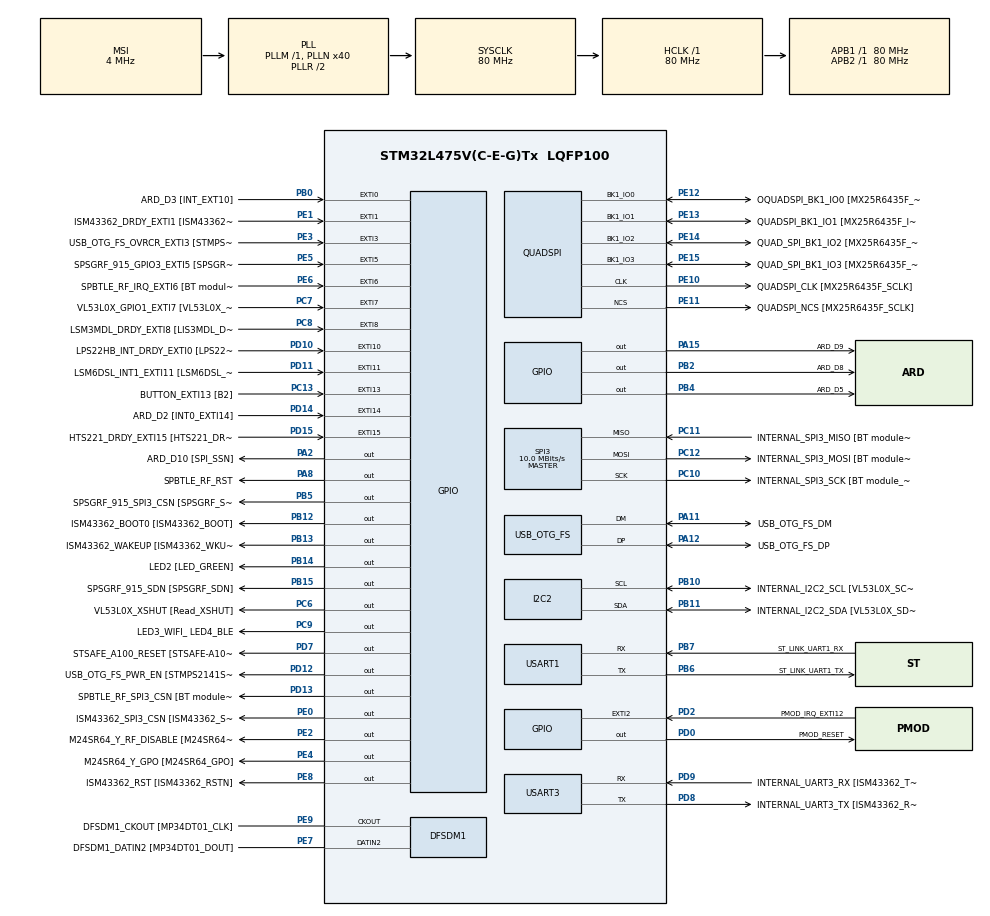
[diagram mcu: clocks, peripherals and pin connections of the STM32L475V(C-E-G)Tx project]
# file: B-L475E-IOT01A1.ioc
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FREERTOS.Tasks01=defaultTask,24,128,StartDefaultTask,Default,NULL,Dynamic,NULL,NULL;wifiTask,8,128,StartWifiTask,Default,NULL,Dynamic,NULL,NULL
FREERTOS.configLIBRARY_MAX_SYSCALL_INTERRUPT_PRIORITY=5
FREERTOS.configTOTAL_HEAP_SIZE=80000
FREERTOS.configUSE_NEWLIB_REENTRANT=1
I2C2.Timing=0x10909CEC
Mcu.Family=STM32L4
Mcu.Name=STM32L475V(C-E-G)Tx
Mcu.Package=LQFP100
NVIC.EXTI1_IRQn=true\:5\:0\:false\:false\:true\:true\:true\:true\:true
NVIC.PriorityGroup=NVIC_PRIORITYGROUP_4
NVIC.SPI3_IRQn=true\:5\:0\:false\:false\:true\:true\:true\:true\:true
NVIC.TIM7_IRQn=true\:15\:0\:false\:false\:true\:false\:false\:true\:true
NVIC.TimeBase=TIM7_IRQn
NVIC.TimeBaseIP=TIM7
PA0.GPIO_Label=ARD_D1 [UART4_TX]
PA0.Signal=UART4_TX
PA1.GPIO_Label=ARD_D0 [UART4_RX]
PA1.Signal=UART4_RX
PA10.GPIO_Label=USB_OTG_FS_ID
PA10.Signal=USB_OTG_FS_ID
PA11.GPIO_Label=USB_OTG_FS_DM
PA11.Mode=Device_Only
PA11.Signal=USB_OTG_FS_DM
PA12.GPIO_Label=USB_OTG_FS_DP
PA12.Mode=Device_Only
PA12.Signal=USB_OTG_FS_DP
PA13\ (JTMS-SWDIO).GPIO_Label=SYS_JTMS_SWDIO
PA13\ (JTMS-SWDIO).Mode=Serial_Wire
PA13\ (JTMS-SWDIO).Signal=SYS_JTMS-SWDIO
PA14\ (JTCK-SWCLK).GPIO_Label=SYS_JTCK_SWCLK
PA14\ (JTCK-SWCLK).Mode=Serial_Wire
PA14\ (JTCK-SWCLK).Signal=SYS_JTCK-SWCLK
PA15\ (JTDI).GPIO_Label=ARD_D9
PA15\ (JTDI).Signal=GPIO_Output
PA2.GPIO_Label=ARD_D10 [SPI_SSN]
PA2.Signal=GPIO_Output
PA3.GPIO_Label=ARD_D4
PA3.Signal=S_TIM2_CH4
PA4.GPIO_Label=ARD_D7
PA4.Signal=ADCx_IN9
PA5.GPIO_Label=ARD_D13 [SPI1_SCK]
PA5.Signal=SPI1_SCK
PA6.GPIO_Label=ARD_D12 [SPI1_MISO]
PA6.Signal=SPI1_MISO
PA7.GPIO_Label=ARD_D11 [SPI1_MOSI]
PA7.Signal=SPI1_MOSI
PA8.GPIO_Label=SPBTLE_RF_RST
PA8.Signal=GPIO_Output
PA9.GPIO_Label=USB_OTG_FS_VBUS [STMPS2141STR_OUT]
PA9.Signal=USB_OTG_FS_VBUS
PB0.GPIO_Label=ARD_D3 [INT_EXT10]
PB0.Signal=GPXTI0
PB1.GPIO_Label=ARD_D6 [ADC1_IN6]
PB1.Signal=ADCx_IN16
PB10.GPIO_Label=INTERNAL_I2C2_SCL [VL53L0X_SCL]
PB10.GPIO_Pu=GPIO_PULLUP
PB10.Mode=I2C
PB10.Signal=I2C2_SCL
PB11.GPIO_Label=INTERNAL_I2C2_SDA [VL53L0X_SDA]
PB11.GPIO_Pu=GPIO_PULLUP
PB11.Mode=I2C
PB11.Signal=I2C2_SDA
PB12.GPIO_Label=ISM43362_BOOT0 [ISM43362_BOOT]
PB12.Signal=GPIO_Output
PB13.GPIO_Label=ISM43362_WAKEUP [ISM43362_WKUP]
PB13.Signal=GPIO_Output
PB14.GPIO_Label=LED2 [LED_GREEN]
PB14.Signal=GPIO_Output
PB15.GPIO_Label=SPSGRF_915_SDN [SPSGRF_SDN]
PB15.Signal=GPIO_Output
PB2.GPIO_Label=ARD_D8
PB2.Signal=GPIO_Output
PB3\ (JTDO-TRACESWO).GPIO_Label=SYS_JTD0_SWO
PB3\ (JTDO-TRACESWO).Signal=SYS_JTDO-SWO
PB4\ (NJTRST).GPIO_Label=ARD_D5
PB4\ (NJTRST).Signal=GPIO_Output
PB5.GPIO_Label=SPSGRF_915_SPI3_CSN [SPSGRF_SPI_CS]
PB5.PinState=GPIO_PIN_SET
PB5.Signal=GPIO_Output
PB6.GPIO_Label=ST_LINK_UART1_TX
PB6.Mode=Asynchronous
PB6.Signal=USART1_TX
PB7.GPIO_Label=ST_LINK_UART1_RX
PB7.Mode=Asynchronous
PB7.Signal=USART1_RX
PB8.GPIO_Label=ARD_D15 [I2C1_SCL]
PB8.Signal=I2C1_SCL
PB9.GPIO_Label=ARD_D14 [I2C1_SDA]
PB9.Signal=I2C1_SDA
PC0.GPIO_Label=ARD_A5 [ADC]
PC0.Signal=ADCx_IN1
PC1.GPIO_Label=ARD_A4 [ADC]
PC1.Signal=ADCx_IN2
PC10.GPIO_Label=INTERNAL_SPI3_SCK [BT module_SPI_SCLK] [ISM43362_SCK]
PC10.Mode=Full_Duplex_Master
PC10.Signal=SPI3_SCK
PC11.GPIO_Label=INTERNAL_SPI3_MISO [BT module_SPI_MISO] [ISM43362_MISO]
PC11.Mode=Full_Duplex_Master
PC11.Signal=SPI3_MISO
PC12.GPIO_Label=INTERNAL_SPI3_MOSI [BT module_SPI_MOSI] [ISM43362_MOSI]
PC12.Mode=Full_Duplex_Master
PC12.Signal=SPI3_MOSI
PC13.GPIO_Label=BUTTON_EXTI13 [B2]
PC13.GPIO_ModeDefaultEXTI=GPIO_MODE_IT_FALLING
PC13.Signal=GPXTI13
PC14-OSC32_IN\ (PC14).Mode=LSE-External-Oscillator
PC14-OSC32_IN\ (PC14).Signal=RCC_OSC32_IN
PC15-OSC32_OUT\ (PC15).Mode=LSE-External-Oscillator
PC15-OSC32_OUT\ (PC15).Signal=RCC_OSC32_OUT
PC2.GPIO_Label=ARD_A3 [ADC]
PC2.Signal=ADCx_IN3
PC3.GPIO_Label=ARD_A2 [ADC]
PC3.Signal=ADCx_IN4
PC4.GPIO_Label=ARD_A1 [ADC]
PC4.Signal=ADCx_IN13
PC5.GPIO_Label=ARD_A0 [ADC]
PC5.Signal=ADCx_IN14
PC6.GPIO_Label=VL53L0X_XSHUT [Read_XSHUT]
PC6.Signal=GPIO_Output
PC7.GPIO_Label=VL53L0X_GPIO1_EXTI7 [VL53L0X_GPIO1]
PC7.Signal=GPXTI7
PC8.GPIO_Label=LSM3MDL_DRDY_EXTI8 [LIS3MDL_DRDY]
PC8.Signal=GPXTI8
PC9.GPIO_Label=LED3_WIFI_ LED4_BLE
PC9.Signal=GPIO_Output
PD0.GPIO_Label=PMOD_RESET
PD0.Signal=GPIO_Output
PD1.GPIO_Label=PMOD_SPI2_SCK
PD1.Signal=SPI2_SCK
PD10.GPIO_Label=LPS22HB_INT_DRDY_EXTI0 [LPS22HB_INT_DRDY] 
PD10.Signal=GPXTI10
PD11.GPIO_Label=LSM6DSL_INT1_EXTI11 [LSM6DSL_INT1]
PD11.Signal=GPXTI11
PD12.GPIO_Label=USB_OTG_FS_PWR_EN [STMPS2141STR_EN]
PD12.Signal=GPIO_Output
PD13.GPIO_Label=SPBTLE_RF_SPI3_CSN [BT module_SPI_CS]
PD13.PinState=GPIO_PIN_SET
PD13.Signal=GPIO_Output
PD14.GPIO_Label=ARD_D2 [INT0_EXTI14]
PD14.Signal=GPXTI14
PD15.GPIO_Label=HTS221_DRDY_EXTI15 [HTS221_DRDY]
PD15.Signal=GPXTI15
PD2.GPIO_Label=PMOD_IRQ_EXTI12
PD2.Signal=GPXTI2
PD3.GPIO_Label=PMOD_UART2_CTS
PD3.Signal=USART2_CTS
PD4.GPIO_Label=PMOD_UART2_RTS
PD4.Signal=USART2_RTS
PD5.GPIO_Label=PMOD_UART2_TX
PD5.Signal=USART2_TX
PD6.GPIO_Label=PMOD_UART2_RX
PD6.Signal=USART2_RX
PD7.GPIO_Label=STSAFE_A100_RESET [STSAFE-A100_RESET]
PD7.Signal=GPIO_Output
PD8.GPIO_Label=INTERNAL_UART3_TX [ISM43362_RX]
PD8.Mode=Asynchronous
PD8.Signal=USART3_TX
PD9.GPIO_Label=INTERNAL_UART3_RX [ISM43362_TX]
PD9.Mode=Asynchronous
PD9.Signal=USART3_RX
PE0.GPIO_Label=ISM43362_SPI3_CSN [ISM43362_SSN]
PE0.PinState=GPIO_PIN_SET
PE0.Signal=GPIO_Output
PE1.GPIO_Label=ISM43362_DRDY_EXTI1 [ISM43362_DATARDY]
PE1.Signal=GPXTI1
PE10.GPIO_Label=QUADSPI_CLK [MX25R6435F_SCLK]
PE10.Mode=Single Bank
PE10.Signal=QUADSPI_CLK
PE11.GPIO_Label=QUADSPI_NCS [MX25R6435F_SCLK]
PE11.Mode=Single Bank
PE11.Signal=QUADSPI_NCS
PE12.GPIO_Label=OQUADSPI_BK1_IO0 [MX25R6435F_IO0]
PE12.Mode=Single Bank
PE12.Signal=QUADSPI_BK1_IO0
PE13.GPIO_Label=QUADSPI_BK1_IO1 [MX25R6435F_IO1]
PE13.Mode=Single Bank
PE13.Signal=QUADSPI_BK1_IO1
PE14.GPIO_Label=QUAD_SPI_BK1_IO2 [MX25R6435F_IO2]
PE14.Mode=Single Bank
PE14.Signal=QUADSPI_BK1_IO2
PE15.GPIO_Label=QUAD_SPI_BK1_IO3 [MX25R6435F_IO3]
PE15.Mode=Single Bank
PE15.Signal=QUADSPI_BK1_IO3
PE2.GPIO_Label=M24SR64_Y_RF_DISABLE [M24SR64_RFDIS]
PE2.Signal=GPIO_Output
PE3.GPIO_Label=USB_OTG_FS_OVRCR_EXTI3 [STMPS2141STR_FAULT]
PE3.Signal=GPXTI3
PE4.GPIO_Label=M24SR64_Y_GPO [M24SR64_GPO]
PE4.Signal=GPIO_Output
PE5.GPIO_Label=SPSGRF_915_GPIO3_EXTI5 [SPSGRF_GPIO_3]
PE5.Signal=GPXTI5
PE6.GPIO_Label=SPBTLE_RF_IRQ_EXTI6 [BT module_SPI_IRQ]
PE6.Signal=GPXTI6
PE7.GPIO_Label=DFSDM1_DATIN2 [MP34DT01_DOUT]
PE7.Signal=S_DATAIN2DFSDM1
PE8.GPIO_Label=ISM43362_RST [ISM43362_RSTN]
PE8.Signal=GPIO_Output
PE9.GPIO_Label=DFSDM1_CKOUT [MP34DT01_CLK]
PE9.Signal=S_CKOUTDFSDM1
ProjectManager.HeapSize=0x200
ProjectManager.StackSize=0x400
ProjectManager.TargetToolchain=STM32CubeIDE
QUADSPI.ClockPrescaler=2
QUADSPI.FifoThreshold=4
QUADSPI.FlashSize=23
QUADSPI.SampleShifting=QSPI_SAMPLE_SHIFTING_HALFCYCLE
RCC.ADCFreq_Value=48000000
RCC.AHBFreq_Value=80000000
RCC.APB1Freq_Value=80000000
RCC.APB1TimFreq_Value=80000000
RCC.APB2Freq_Value=80000000
RCC.APB2TimFreq_Value=80000000
RCC.CortexFreq_Value=80000000
RCC.FLatency-AdvancedSettings=FLASH_LATENCY_0
RCC.HCLKFreq_Value=80000000
RCC.HSE_VALUE=8000000
RCC.HSI_VALUE=16000000
RCC.MSI_VALUE=4000000
RCC.PLLN=40
RCC.PLLQ=RCC_PLLQ_DIV4
RCC.PLLSAI1N=24
RCC.SYSCLKFreq_VALUE=80000000
RCC.SYSCLKSource=RCC_SYSCLKSOURCE_PLLCLK
RCC.USBFreq_Value=48000000
RCC.VCOOutputFreq_Value=160000000
SH.ADCx_IN1.0=ADC1_IN1
SH.ADCx_IN13.0=ADC1_IN13
SH.ADCx_IN14.0=ADC1_IN14
SH.ADCx_IN16.0=ADC1_IN16
SH.ADCx_IN2.0=ADC1_IN2
SH.ADCx_IN3.0=ADC1_IN3
SH.ADCx_IN4.0=ADC1_IN4
SH.ADCx_IN9.0=ADC1_IN9
SH.S_CKOUTDFSDM1.0=DFSDM1_CKOUT,CKOUT
SH.S_CKOUTDFSDM1.1=DFSDM1_CKOUT,PDM_SPI_Input_from_ch12_and_Internal_Clock
SH.S_DATAIN2DFSDM1.0=DFSDM1_DATIN2,PDM_SPI_Input_from_ch12_and_Internal_Clock
SH.S_TIM2_CH4.0=TIM2_CH4
SPI3.BaudRatePrescaler=SPI_BAUDRATEPRESCALER_8
SPI3.CalculateBaudRate=10.0 MBits/s
SPI3.DataSize=SPI_DATASIZE_16BIT
SPI3.Direction=SPI_DIRECTION_2LINES
SPI3.Mode=SPI_MODE_MASTER
SPI3.VirtualType=VM_MASTER
USART1.VirtualMode-Asynchronous=VM_ASYNC
USART3.VirtualMode-Asynchronous=VM_ASYNC
USB_OTG_FS.VirtualMode=Device_Only
VP_FREERTOS_VS_CMSIS_V2.Mode=CMSIS_V2
VP_RNG_VS_RNG.Mode=RNG_Activate
VP_SYS_VS_tim7.Mode=TIM7
VP_wolfSSL.I-CUBE-wolfMQTT_VS_wolfMQTTJjwolfMQTT_1.19.0_1.19.0.Mode=wolfMQTTJjwolfMQTT
VP_wolfSSL.I-CUBE-wolfSSL_VS_wolfSSLJjwolfSSL_5.7.4_5.7.4.Mode=wolfSSLJjwolfSSL
board=B-L475E-IOT01A1
wolfSSL.I-CUBE-wolfMQTT.1.19.0.WOLFMQTT_CONF_FREERTOS=1
wolfSSL.I-CUBE-wolfMQTT.1.19.0.wolfMQTTCcwolfMQTTJjwolfMQTTJjCore=true
wolfSSL.I-CUBE-wolfMQTT.1.19.0.wolfMQTTCcwolfMQTTJjwolfMQTTJjExamples=true
wolfSSL.I-CUBE-wolfMQTT.1.19.0.wolfMQTTCcwolfMQTTJjwolfMQTTJjTLS=true
wolfSSL.I-CUBE-wolfSSL.5.7.4.WOLF_CONF_RTOS=2
wolfSSL.I-CUBE-wolfSSL.5.7.4.wolfSSLCcwolfSSLJjwolfCryptJjCore=true
wolfSSL.I-CUBE-wolfSSL.5.7.4.wolfSSLCcwolfSSLJjwolfCryptJjTest=true
wolfSSL.I-CUBE-wolfSSL.5.7.4.wolfSSLCcwolfSSLJjwolfSSLJjCore=true

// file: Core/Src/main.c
/* USER CODE BEGIN Header */
/**
  ******************************************************************************
  * @file           : main.c
  * @brief          : Main program body
  ******************************************************************************
  * @attention
  *
  * Copyright (c) 2024 STMicroelectronics.
  * All rights reserved.
  *
  * This software is licensed under terms that can be found in the LICENSE file
  * in the root directory of this software component.
  * If no LICENSE file comes with this software, it is provided AS-IS.
  *
  ******************************************************************************
  */
/* USER CODE END Header */
#include "main.h"
#include "cmsis_os.h"

/* USER CODE BEGIN PD */
#define SSID     "seong"
#define PASSWORD "0466034q"

#define CONNECTION_TRIAL_MAX          10

#define TERMOUT(...)  printf(__VA_ARGS__)

#define PUTCHAR_PROTOTYPE int __io_putchar(int ch)

/* USER CODE END PD */

DFSDM_Channel_HandleTypeDef hdfsdm1_channel1;

I2C_HandleTypeDef hi2c2;

QSPI_HandleTypeDef hqspi;

RNG_HandleTypeDef hrng;

SPI_HandleTypeDef hspi3;

UART_HandleTypeDef huart1;
UART_HandleTypeDef huart3;

PCD_HandleTypeDef hpcd_USB_OTG_FS;

/* Definitions for defaultTask */
osThreadId_t defaultTaskHandle;
const osThreadAttr_t defaultTask_attributes = {
  .name = "defaultTask",
  .stack_size = 128 * 4,
  .priority = (osPriority_t) osPriorityNormal,
};
/* Definitions for wifiTask */
osThreadId_t wifiTaskHandle;
const osThreadAttr_t wifiTask_attributes = {
  .name = "wifiTask",
  .stack_size = 128 * 4,
  .priority = (osPriority_t) osPriorityLow,
};
/* USER CODE BEGIN PV */
uint8_t RemoteIP[] = {192,168,1,3};
#define RemotePORT	8000

/* USER CODE END PV */

void SystemClock_Config(void);
void PeriphCommonClock_Config(void);
static void MX_GPIO_Init(void);
static void MX_DFSDM1_Init(void);
static void MX_I2C2_Init(void);
static void MX_QUADSPI_Init(void);
static void MX_SPI3_Init(void);
static void MX_USART1_UART_Init(void);
static void MX_USART3_UART_Init(void);
static void MX_USB_OTG_FS_PCD_Init(void);
static void MX_RNG_Init(void);
void StartDefaultTask(void *argument);
void StartWifiTask(void *argument);

/* USER CODE BEGIN 0 */
//extern UART_HandleTypeDef hDiscoUart;
//extern  SPI_HandleTypeDef hspi;

/* USER CODE END 0 */

int main(void)
{

  /* MCU Configuration--------------------------------------------------------*/

  /* Reset of all peripherals, Initializes the Flash interface and the Systick. */
  HAL_Init();

  /* Configure the system clock */
  SystemClock_Config();

/* Configure the peripherals common clocks */
  PeriphCommonClock_Config();

  /* Initialize all configured peripherals */
  MX_GPIO_Init();
  MX_DFSDM1_Init();
  MX_I2C2_Init();
  MX_QUADSPI_Init();
  MX_SPI3_Init();
  MX_USART1_UART_Init();
  MX_USART3_UART_Init();
  MX_USB_OTG_FS_PCD_Init();
  MX_RNG_Init();
  /* USER CODE BEGIN 2 */

  BSP_LED_Init(LED2);

  BSP_COM_Init(COM1, &huart1);

  /* USER CODE END 2 */

  /* Init scheduler */
  osKernelInitialize();

  /* Create the thread(s) */
  /* creation of defaultTask */
  defaultTaskHandle = osThreadNew(StartDefaultTask, NULL, &defaultTask_attributes);

  /* creation of wifiTask */
  wifiTaskHandle = osThreadNew(StartWifiTask, NULL, &wifiTask_attributes);

  /* Start scheduler */
  osKernelStart();

  /* We should never get here as control is now taken by the scheduler */

  /* Infinite loop */
  while (1)
  {

  }
}

void SystemClock_Config(void)
{
  RCC_OscInitTypeDef RCC_OscInitStruct = {0};
  RCC_ClkInitTypeDef RCC_ClkInitStruct = {0};

  /** Configure the main internal regulator output voltage
  */
  if (HAL_PWREx_ControlVoltageScaling(PWR_REGULATOR_VOLTAGE_SCALE1) != HAL_OK)
  {
    Error_Handler();
  }

  /** Configure LSE Drive Capability
  */
  HAL_PWR_EnableBkUpAccess();
  __HAL_RCC_LSEDRIVE_CONFIG(RCC_LSEDRIVE_LOW);

  /** Initializes the RCC Oscillators according to the specified parameters
  * in the RCC_OscInitTypeDef structure.
  */
  RCC_OscInitStruct.OscillatorType = RCC_OSCILLATORTYPE_LSE|RCC_OSCILLATORTYPE_MSI;
  RCC_OscInitStruct.LSEState = RCC_LSE_ON;
  RCC_OscInitStruct.MSIState = RCC_MSI_ON;
  RCC_OscInitStruct.MSICalibrationValue = 0;
  RCC_OscInitStruct.MSIClockRange = RCC_MSIRANGE_6;
  RCC_OscInitStruct.PLL.PLLState = RCC_PLL_ON;
  RCC_OscInitStruct.PLL.PLLSource = RCC_PLLSOURCE_MSI;
  RCC_OscInitStruct.PLL.PLLM = 1;
  RCC_OscInitStruct.PLL.PLLN = 40;
  RCC_OscInitStruct.PLL.PLLP = RCC_PLLP_DIV7;
  RCC_OscInitStruct.PLL.PLLQ = RCC_PLLQ_DIV4;
  RCC_OscInitStruct.PLL.PLLR = RCC_PLLR_DIV2;
  if (HAL_RCC_OscConfig(&RCC_OscInitStruct) != HAL_OK)
  {
    Error_Handler();
  }

  /** Initializes the CPU, AHB and APB buses clocks
  */
  RCC_ClkInitStruct.ClockType = RCC_CLOCKTYPE_HCLK|RCC_CLOCKTYPE_SYSCLK
                              |RCC_CLOCKTYPE_PCLK1|RCC_CLOCKTYPE_PCLK2;
  RCC_ClkInitStruct.SYSCLKSource = RCC_SYSCLKSOURCE_PLLCLK;
  RCC_ClkInitStruct.AHBCLKDivider = RCC_SYSCLK_DIV1;
  RCC_ClkInitStruct.APB1CLKDivider = RCC_HCLK_DIV1;
  RCC_ClkInitStruct.APB2CLKDivider = RCC_HCLK_DIV1;

  if (HAL_RCC_ClockConfig(&RCC_ClkInitStruct, FLASH_LATENCY_4) != HAL_OK)
  {
    Error_Handler();
  }

  /** Enable MSI Auto calibration
  */
  HAL_RCCEx_EnableMSIPLLMode();
}

void PeriphCommonClock_Config(void)
{
  RCC_PeriphCLKInitTypeDef PeriphClkInit = {0};

  /** Initializes the peripherals clock
  */
  PeriphClkInit.PeriphClockSelection = RCC_PERIPHCLK_USB|RCC_PERIPHCLK_RNG;
  PeriphClkInit.UsbClockSelection = RCC_USBCLKSOURCE_PLLSAI1;
  PeriphClkInit.RngClockSelection = RCC_RNGCLKSOURCE_PLLSAI1;
  PeriphClkInit.PLLSAI1.PLLSAI1Source = RCC_PLLSOURCE_MSI;
  PeriphClkInit.PLLSAI1.PLLSAI1M = 1;
  PeriphClkInit.PLLSAI1.PLLSAI1N = 24;
  PeriphClkInit.PLLSAI1.PLLSAI1P = RCC_PLLP_DIV7;
  PeriphClkInit.PLLSAI1.PLLSAI1Q = RCC_PLLQ_DIV2;
  PeriphClkInit.PLLSAI1.PLLSAI1R = RCC_PLLR_DIV2;
  PeriphClkInit.PLLSAI1.PLLSAI1ClockOut = RCC_PLLSAI1_48M2CLK;
  if (HAL_RCCEx_PeriphCLKConfig(&PeriphClkInit) != HAL_OK)
  {
    Error_Handler();
  }
}

static void MX_DFSDM1_Init(void)
{

  hdfsdm1_channel1.Instance = DFSDM1_Channel1;
  hdfsdm1_channel1.Init.OutputClock.Activation = ENABLE;
  hdfsdm1_channel1.Init.OutputClock.Selection = DFSDM_CHANNEL_OUTPUT_CLOCK_SYSTEM;
  hdfsdm1_channel1.Init.OutputClock.Divider = 2;
  hdfsdm1_channel1.Init.Input.Multiplexer = DFSDM_CHANNEL_EXTERNAL_INPUTS;
  hdfsdm1_channel1.Init.Input.DataPacking = DFSDM_CHANNEL_STANDARD_MODE;
  hdfsdm1_channel1.Init.Input.Pins = DFSDM_CHANNEL_FOLLOWING_CHANNEL_PINS;
  hdfsdm1_channel1.Init.SerialInterface.Type = DFSDM_CHANNEL_SPI_RISING;
  hdfsdm1_channel1.Init.SerialInterface.SpiClock = DFSDM_CHANNEL_SPI_CLOCK_INTERNAL;
  hdfsdm1_channel1.Init.Awd.FilterOrder = DFSDM_CHANNEL_FASTSINC_ORDER;
  hdfsdm1_channel1.Init.Awd.Oversampling = 1;
  hdfsdm1_channel1.Init.Offset = 0;
  hdfsdm1_channel1.Init.RightBitShift = 0x00;
  if (HAL_DFSDM_ChannelInit(&hdfsdm1_channel1) != HAL_OK)
  {
    Error_Handler();
  }

}

static void MX_I2C2_Init(void)
{

  hi2c2.Instance = I2C2;
  hi2c2.Init.Timing = 0x10909CEC;
  hi2c2.Init.OwnAddress1 = 0;
  hi2c2.Init.AddressingMode = I2C_ADDRESSINGMODE_7BIT;
  hi2c2.Init.DualAddressMode = I2C_DUALADDRESS_DISABLE;
  hi2c2.Init.OwnAddress2 = 0;
  hi2c2.Init.OwnAddress2Masks = I2C_OA2_NOMASK;
  hi2c2.Init.GeneralCallMode = I2C_GENERALCALL_DISABLE;
  hi2c2.Init.NoStretchMode = I2C_NOSTRETCH_DISABLE;
  if (HAL_I2C_Init(&hi2c2) != HAL_OK)
  {
    Error_Handler();
  }

  /** Configure Analogue filter
  */
  if (HAL_I2CEx_ConfigAnalogFilter(&hi2c2, I2C_ANALOGFILTER_ENABLE) != HAL_OK)
  {
    Error_Handler();
  }

  /** Configure Digital filter
  */
  if (HAL_I2CEx_ConfigDigitalFilter(&hi2c2, 0) != HAL_OK)
  {
    Error_Handler();
  }

}

static void MX_QUADSPI_Init(void)
{

  /* QUADSPI parameter configuration*/
  hqspi.Instance = QUADSPI;
  hqspi.Init.ClockPrescaler = 2;
  hqspi.Init.FifoThreshold = 4;
  hqspi.Init.SampleShifting = QSPI_SAMPLE_SHIFTING_HALFCYCLE;
  hqspi.Init.FlashSize = 23;
  hqspi.Init.ChipSelectHighTime = QSPI_CS_HIGH_TIME_1_CYCLE;
  hqspi.Init.ClockMode = QSPI_CLOCK_MODE_0;
  if (HAL_QSPI_Init(&hqspi) != HAL_OK)
  {
    Error_Handler();
  }

}

static void MX_RNG_Init(void)
{

  hrng.Instance = RNG;
  if (HAL_RNG_Init(&hrng) != HAL_OK)
  {
    Error_Handler();
  }

}

static void MX_SPI3_Init(void)
{

  /* SPI3 parameter configuration*/
  hspi3.Instance = SPI3;
  hspi3.Init.Mode = SPI_MODE_MASTER;
  hspi3.Init.Direction = SPI_DIRECTION_2LINES;
  hspi3.Init.DataSize = SPI_DATASIZE_16BIT;
  hspi3.Init.CLKPolarity = SPI_POLARITY_LOW;
  hspi3.Init.CLKPhase = SPI_PHASE_1EDGE;
  hspi3.Init.NSS = SPI_NSS_SOFT;
  hspi3.Init.BaudRatePrescaler = SPI_BAUDRATEPRESCALER_8;
  hspi3.Init.FirstBit = SPI_FIRSTBIT_MSB;
  hspi3.Init.TIMode = SPI_TIMODE_DISABLE;
  hspi3.Init.CRCCalculation = SPI_CRCCALCULATION_DISABLE;
  hspi3.Init.CRCPolynomial = 7;
  hspi3.Init.CRCLength = SPI_CRC_LENGTH_DATASIZE;
  hspi3.Init.NSSPMode = SPI_NSS_PULSE_ENABLE;
  if (HAL_SPI_Init(&hspi3) != HAL_OK)
  {
    Error_Handler();
  }

}

static void MX_USART1_UART_Init(void)
{

  huart1.Instance = USART1;
  huart1.Init.BaudRate = 115200;
  huart1.Init.WordLength = UART_WORDLENGTH_8B;
  huart1.Init.StopBits = UART_STOPBITS_1;
  huart1.Init.Parity = UART_PARITY_NONE;
  huart1.Init.Mode = UART_MODE_TX_RX;
  huart1.Init.HwFlowCtl = UART_HWCONTROL_NONE;
  huart1.Init.OverSampling = UART_OVERSAMPLING_16;
  huart1.Init.OneBitSampling = UART_ONE_BIT_SAMPLE_DISABLE;
  huart1.AdvancedInit.AdvFeatureInit = UART_ADVFEATURE_NO_INIT;
  if (HAL_UART_Init(&huart1) != HAL_OK)
  {
    Error_Handler();
  }

}

static void MX_USART3_UART_Init(void)
{

  huart3.Instance = USART3;
  huart3.Init.BaudRate = 115200;
  huart3.Init.WordLength = UART_WORDLENGTH_8B;
  huart3.Init.StopBits = UART_STOPBITS_1;
  huart3.Init.Parity = UART_PARITY_NONE;
  huart3.Init.Mode = UART_MODE_TX_RX;
  huart3.Init.HwFlowCtl = UART_HWCONTROL_NONE;
  huart3.Init.OverSampling = UART_OVERSAMPLING_16;
  huart3.Init.OneBitSampling = UART_ONE_BIT_SAMPLE_DISABLE;
  huart3.AdvancedInit.AdvFeatureInit = UART_ADVFEATURE_NO_INIT;
  if (HAL_UART_Init(&huart3) != HAL_OK)
  {
    Error_Handler();
  }

}

static void MX_USB_OTG_FS_PCD_Init(void)
{

  hpcd_USB_OTG_FS.Instance = USB_OTG_FS;
  hpcd_USB_OTG_FS.Init.dev_endpoints = 6;
  hpcd_USB_OTG_FS.Init.speed = PCD_SPEED_FULL;
  hpcd_USB_OTG_FS.Init.phy_itface = PCD_PHY_EMBEDDED;
  hpcd_USB_OTG_FS.Init.Sof_enable = DISABLE;
  hpcd_USB_OTG_FS.Init.low_power_enable = DISABLE;
  hpcd_USB_OTG_FS.Init.lpm_enable = DISABLE;
  hpcd_USB_OTG_FS.Init.battery_charging_enable = DISABLE;
  hpcd_USB_OTG_FS.Init.use_dedicated_ep1 = DISABLE;
  hpcd_USB_OTG_FS.Init.vbus_sensing_enable = DISABLE;
  if (HAL_PCD_Init(&hpcd_USB_OTG_FS) != HAL_OK)
  {
    Error_Handler();
  }

}

static void MX_GPIO_Init(void)
{
  GPIO_InitTypeDef GPIO_InitStruct = {0};

  /* GPIO Ports Clock Enable */
  __HAL_RCC_GPIOE_CLK_ENABLE();
  __HAL_RCC_GPIOC_CLK_ENABLE();
  __HAL_RCC_GPIOA_CLK_ENABLE();
  __HAL_RCC_GPIOB_CLK_ENABLE();
  __HAL_RCC_GPIOD_CLK_ENABLE();

  /*Configure GPIO pin Output Level */
  HAL_GPIO_WritePin(GPIOE, M24SR64_Y_RF_DISABLE_Pin|M24SR64_Y_GPO_Pin|ISM43362_RST_Pin, GPIO_PIN_RESET);

  /*Configure GPIO pin Output Level */
  HAL_GPIO_WritePin(GPIOA, ARD_D10_Pin|SPBTLE_RF_RST_Pin|ARD_D9_Pin, GPIO_PIN_RESET);

  /*Configure GPIO pin Output Level */
  HAL_GPIO_WritePin(GPIOB, ARD_D8_Pin|ISM43362_BOOT0_Pin|ISM43362_WAKEUP_Pin|LED2_Pin
                          |SPSGRF_915_SDN_Pin|ARD_D5_Pin, GPIO_PIN_RESET);

  /*Configure GPIO pin Output Level */
  HAL_GPIO_WritePin(GPIOD, USB_OTG_FS_PWR_EN_Pin|PMOD_RESET_Pin|STSAFE_A100_RESET_Pin, GPIO_PIN_RESET);

  /*Configure GPIO pin Output Level */
  HAL_GPIO_WritePin(SPBTLE_RF_SPI3_CSN_GPIO_Port, SPBTLE_RF_SPI3_CSN_Pin, GPIO_PIN_SET);

  /*Configure GPIO pin Output Level */
  HAL_GPIO_WritePin(GPIOC, VL53L0X_XSHUT_Pin|LED3_WIFI__LED4_BLE_Pin, GPIO_PIN_RESET);

  /*Configure GPIO pin Output Level */
  HAL_GPIO_WritePin(SPSGRF_915_SPI3_CSN_GPIO_Port, SPSGRF_915_SPI3_CSN_Pin, GPIO_PIN_SET);

  /*Configure GPIO pin Output Level */
  HAL_GPIO_WritePin(ISM43362_SPI3_CSN_GPIO_Port, ISM43362_SPI3_CSN_Pin, GPIO_PIN_SET);

  /*Configure GPIO pins : M24SR64_Y_RF_DISABLE_Pin M24SR64_Y_GPO_Pin ISM43362_RST_Pin ISM43362_SPI3_CSN_Pin */
  GPIO_InitStruct.Pin = M24SR64_Y_RF_DISABLE_Pin|M24SR64_Y_GPO_Pin|ISM43362_RST_Pin|ISM43362_SPI3_CSN_Pin;
  GPIO_InitStruct.Mode = GPIO_MODE_OUTPUT_PP;
  GPIO_InitStruct.Pull = GPIO_NOPULL;
  GPIO_InitStruct.Speed = GPIO_SPEED_FREQ_LOW;
  HAL_GPIO_Init(GPIOE, &GPIO_InitStruct);

  /*Configure GPIO pins : USB_OTG_FS_OVRCR_EXTI3_Pin SPSGRF_915_GPIO3_EXTI5_Pin SPBTLE_RF_IRQ_EXTI6_Pin ISM43362_DRDY_EXTI1_Pin */
  GPIO_InitStruct.Pin = USB_OTG_FS_OVRCR_EXTI3_Pin|SPSGRF_915_GPIO3_EXTI5_Pin|SPBTLE_RF_IRQ_EXTI6_Pin|ISM43362_DRDY_EXTI1_Pin;
  GPIO_InitStruct.Mode = GPIO_MODE_IT_RISING;
  GPIO_InitStruct.Pull = GPIO_NOPULL;
  HAL_GPIO_Init(GPIOE, &GPIO_InitStruct);

  /*Configure GPIO pin : BUTTON_EXTI13_Pin */
  GPIO_InitStruct.Pin = BUTTON_EXTI13_Pin;
  GPIO_InitStruct.Mode = GPIO_MODE_IT_FALLING;
  GPIO_InitStruct.Pull = GPIO_NOPULL;
  HAL_GPIO_Init(BUTTON_EXTI13_GPIO_Port, &GPIO_InitStruct);

  /*Configure GPIO pins : ARD_A5_Pin ARD_A4_Pin ARD_A3_Pin ARD_A2_Pin
                           ARD_A1_Pin ARD_A0_Pin */
  GPIO_InitStruct.Pin = ARD_A5_Pin|ARD_A4_Pin|ARD_A3_Pin|ARD_A2_Pin
                          |ARD_A1_Pin|ARD_A0_Pin;
  GPIO_InitStruct.Mode = GPIO_MODE_ANALOG_ADC_CONTROL;
  GPIO_InitStruct.Pull = GPIO_NOPULL;
  HAL_GPIO_Init(GPIOC, &GPIO_InitStruct);

  /*Configure GPIO pins : ARD_D1_Pin ARD_D0_Pin */
  GPIO_InitStruct.Pin = ARD_D1_Pin|ARD_D0_Pin;
  GPIO_InitStruct.Mode = GPIO_MODE_AF_PP;
  GPIO_InitStruct.Pull = GPIO_NOPULL;
  GPIO_InitStruct.Speed = GPIO_SPEED_FREQ_VERY_HIGH;
  GPIO_InitStruct.Alternate = GPIO_AF8_UART4;
  HAL_GPIO_Init(GPIOA, &GPIO_InitStruct);

  /*Configure GPIO pins : ARD_D10_Pin SPBTLE_RF_RST_Pin ARD_D9_Pin */
  GPIO_InitStruct.Pin = ARD_D10_Pin|SPBTLE_RF_RST_Pin|ARD_D9_Pin;
  GPIO_InitStruct.Mode = GPIO_MODE_OUTPUT_PP;
  GPIO_InitStruct.Pull = GPIO_NOPULL;
  GPIO_InitStruct.Speed = GPIO_SPEED_FREQ_LOW;
  HAL_GPIO_Init(GPIOA, &GPIO_InitStruct);

  /*Configure GPIO pin : ARD_D4_Pin */
  GPIO_InitStruct.Pin = ARD_D4_Pin;
  GPIO_InitStruct.Mode = GPIO_MODE_AF_PP;
  GPIO_InitStruct.Pull = GPIO_NOPULL;
  GPIO_InitStruct.Speed = GPIO_SPEED_FREQ_LOW;
  GPIO_InitStruct.Alternate = GPIO_AF1_TIM2;
  HAL_GPIO_Init(ARD_D4_GPIO_Port, &GPIO_InitStruct);

  /*Configure GPIO pin : ARD_D7_Pin */
  GPIO_InitStruct.Pin = ARD_D7_Pin;
  GPIO_InitStruct.Mode = GPIO_MODE_ANALOG_ADC_CONTROL;
  GPIO_InitStruct.Pull = GPIO_NOPULL;
  HAL_GPIO_Init(ARD_D7_GPIO_Port, &GPIO_InitStruct);

  /*Configure GPIO pins : ARD_D13_Pin ARD_D12_Pin ARD_D11_Pin */
  GPIO_InitStruct.Pin = ARD_D13_Pin|ARD_D12_Pin|ARD_D11_Pin;
  GPIO_InitStruct.Mode = GPIO_MODE_AF_PP;
  GPIO_InitStruct.Pull = GPIO_NOPULL;
  GPIO_InitStruct.Speed = GPIO_SPEED_FREQ_VERY_HIGH;
  GPIO_InitStruct.Alternate = GPIO_AF5_SPI1;
  HAL_GPIO_Init(GPIOA, &GPIO_InitStruct);

  /*Configure GPIO pin : ARD_D3_Pin */
  GPIO_InitStruct.Pin = ARD_D3_Pin;
  GPIO_InitStruct.Mode = GPIO_MODE_IT_RISING;
  GPIO_InitStruct.Pull = GPIO_NOPULL;
  HAL_GPIO_Init(ARD_D3_GPIO_Port, &GPIO_InitStruct);

  /*Configure GPIO pin : ARD_D6_Pin */
  GPIO_InitStruct.Pin = ARD_D6_Pin;
  GPIO_InitStruct.Mode = GPIO_MODE_ANALOG_ADC_CONTROL;
  GPIO_InitStruct.Pull = GPIO_NOPULL;
  HAL_GPIO_Init(ARD_D6_GPIO_Port, &GPIO_InitStruct);

  /*Configure GPIO pins : ARD_D8_Pin ISM43362_BOOT0_Pin ISM43362_WAKEUP_Pin LED2_Pin
                           SPSGRF_915_SDN_Pin ARD_D5_Pin SPSGRF_915_SPI3_CSN_Pin */
  GPIO_InitStruct.Pin = ARD_D8_Pin|ISM43362_BOOT0_Pin|ISM43362_WAKEUP_Pin|LED2_Pin
                          |SPSGRF_915_SDN_Pin|ARD_D5_Pin|SPSGRF_915_SPI3_CSN_Pin;
  GPIO_InitStruct.Mode = GPIO_MODE_OUTPUT_PP;
  GPIO_InitStruct.Pull = GPIO_NOPULL;
  GPIO_InitStruct.Speed = GPIO_SPEED_FREQ_LOW;
  HAL_GPIO_Init(GPIOB, &GPIO_InitStruct);

  /*Configure GPIO pins : LPS22HB_INT_DRDY_EXTI0_Pin LSM6DSL_INT1_EXTI11_Pin ARD_D2_Pin HTS221_DRDY_EXTI15_Pin
                           PMOD_IRQ_EXTI12_Pin */
  GPIO_InitStruct.Pin = LPS22HB_INT_DRDY_EXTI0_Pin|LSM6DSL_INT1_EXTI11_Pin|ARD_D2_Pin|HTS221_DRDY_EXTI15_Pin
                          |PMOD_IRQ_EXTI12_Pin;
  GPIO_InitStruct.Mode = GPIO_MODE_IT_RISING;
  GPIO_InitStruct.Pull = GPIO_NOPULL;
  HAL_GPIO_Init(GPIOD, &GPIO_InitStruct);

  /*Configure GPIO pins : USB_OTG_FS_PWR_EN_Pin SPBTLE_RF_SPI3_CSN_Pin PMOD_RESET_Pin STSAFE_A100_RESET_Pin */
  GPIO_InitStruct.Pin = USB_OTG_FS_PWR_EN_Pin|SPBTLE_RF_SPI3_CSN_Pin|PMOD_RESET_Pin|STSAFE_A100_RESET_Pin;
  GPIO_InitStruct.Mode = GPIO_MODE_OUTPUT_PP;
  GPIO_InitStruct.Pull = GPIO_NOPULL;
  GPIO_InitStruct.Speed = GPIO_SPEED_FREQ_LOW;
  HAL_GPIO_Init(GPIOD, &GPIO_InitStruct);

  /*Configure GPIO pins : VL53L0X_XSHUT_Pin LED3_WIFI__LED4_BLE_Pin */
  GPIO_InitStruct.Pin = VL53L0X_XSHUT_Pin|LED3_WIFI__LED4_BLE_Pin;
  GPIO_InitStruct.Mode = GPIO_MODE_OUTPUT_PP;
  GPIO_InitStruct.Pull = GPIO_NOPULL;
  GPIO_InitStruct.Speed = GPIO_SPEED_FREQ_LOW;
  HAL_GPIO_Init(GPIOC, &GPIO_InitStruct);

  /*Configure GPIO pins : VL53L0X_GPIO1_EXTI7_Pin LSM3MDL_DRDY_EXTI8_Pin */
  GPIO_InitStruct.Pin = VL53L0X_GPIO1_EXTI7_Pin|LSM3MDL_DRDY_EXTI8_Pin;
  GPIO_InitStruct.Mode = GPIO_MODE_IT_RISING;
  GPIO_InitStruct.Pull = GPIO_NOPULL;
  HAL_GPIO_Init(GPIOC, &GPIO_InitStruct);

  /*Configure GPIO pin : PMOD_SPI2_SCK_Pin */
  GPIO_InitStruct.Pin = PMOD_SPI2_SCK_Pin;
  GPIO_InitStruct.Mode = GPIO_MODE_AF_PP;
  GPIO_InitStruct.Pull = GPIO_NOPULL;
  GPIO_InitStruct.Speed = GPIO_SPEED_FREQ_VERY_HIGH;
  GPIO_InitStruct.Alternate = GPIO_AF5_SPI2;
  HAL_GPIO_Init(PMOD_SPI2_SCK_GPIO_Port, &GPIO_InitStruct);

  /*Configure GPIO pins : PMOD_UART2_CTS_Pin PMOD_UART2_RTS_Pin PMOD_UART2_TX_Pin PMOD_UART2_RX_Pin */
  GPIO_InitStruct.Pin = PMOD_UART2_CTS_Pin|PMOD_UART2_RTS_Pin|PMOD_UART2_TX_Pin|PMOD_UART2_RX_Pin;
  GPIO_InitStruct.Mode = GPIO_MODE_AF_PP;
  GPIO_InitStruct.Pull = GPIO_NOPULL;
  GPIO_InitStruct.Speed = GPIO_SPEED_FREQ_VERY_HIGH;
  GPIO_InitStruct.Alternate = GPIO_AF7_USART2;
  HAL_GPIO_Init(GPIOD, &GPIO_InitStruct);

  /*Configure GPIO pins : ARD_D15_Pin ARD_D14_Pin */
  GPIO_InitStruct.Pin = ARD_D15_Pin|ARD_D14_Pin;
  GPIO_InitStruct.Mode = GPIO_MODE_AF_OD;
  GPIO_InitStruct.Pull = GPIO_NOPULL;
  GPIO_InitStruct.Speed = GPIO_SPEED_FREQ_VERY_HIGH;
  GPIO_InitStruct.Alternate = GPIO_AF4_I2C1;
  HAL_GPIO_Init(GPIOB, &GPIO_InitStruct);

  /* EXTI interrupt init*/
  HAL_NVIC_SetPriority(EXTI1_IRQn, 5, 0);
  HAL_NVIC_EnableIRQ(EXTI1_IRQn);

}

/* USER CODE BEGIN 4 */

/**
  * @brief  Retargets the C library TERMOUT function to the USART.
  * @param  None
  * @retval None
  */
PUTCHAR_PROTOTYPE
{
  /* Place your implementation of fputc here */
  /* e.g. write a character to the USART1 and Loop until the end of transmission */
  HAL_UART_Transmit(&huart1, (uint8_t *)&ch, 1, 0xFFFF);

  return ch;
}

/**
  * @brief  EXTI line detection callback.
  * @param  GPIO_Pin: Specifies the port pin connected to corresponding EXTI line.
  * @retval None
  */
void HAL_GPIO_EXTI_Callback(uint16_t GPIO_Pin)
{
  switch (GPIO_Pin)
  {
    case (GPIO_PIN_1):
    {
      SPI_WIFI_ISR();
      break;
    }
    default:
    {
      break;
    }
  }
}

/* USER CODE END 4 */

void StartDefaultTask(void *argument)
{
  for(;;)
  {
    osDelay(1);
  }
}

void StartWifiTask(void *argument)
{
  /* USER CODE BEGIN StartWifiTask */

  uint8_t  MAC_Addr[6] = {0};
  uint8_t  IP_Addr[4] = {0};
  int32_t Socket = -1;
  int16_t Trials = CONNECTION_TRIAL_MAX;

  TERMOUT("****** WIFI Module in TCP Client mode demonstration ****** \n\n");
  TERMOUT("TCP Client Instructions :\n");
  TERMOUT("1- Make sure your Phone is connected to the same network that\n");
  TERMOUT("   you configured using the Configuration Access Point.\n");
  TERMOUT("2- Create a server by using the android application TCP Server\n");
  TERMOUT("   with port(8002).\n");
  TERMOUT("3- Get the Network Name or IP Address of your Android from the step 2.\n\n");

	/*Initialize  WIFI module */
	if(WIFI_Init() ==  WIFI_STATUS_OK)
	{
	  TERMOUT("> WIFI Module Initialized.\n");
	  if(WIFI_GetMAC_Address(MAC_Addr, sizeof(MAC_Addr)) == WIFI_STATUS_OK)
	  {
		TERMOUT("> es-wifi module MAC Address : %X:%X:%X:%X:%X:%X\n",
				 MAC_Addr[0],
				 MAC_Addr[1],
				 MAC_Addr[2],
				 MAC_Addr[3],
				 MAC_Addr[4],
				 MAC_Addr[5]);
	  }
	  else
	  {
		TERMOUT("> ERROR : CANNOT get MAC address\n");
		BSP_LED_On(LED2);
	  }

	  if( WIFI_Connect(SSID, PASSWORD, WIFI_ECN_WPA2_PSK) == WIFI_STATUS_OK)
	  {
		TERMOUT("> es-wifi module connected \n");
		if(WIFI_GetIP_Address(IP_Addr, sizeof(IP_Addr)) == WIFI_STATUS_OK)
		{
		  TERMOUT("> es-wifi module got IP Address : %d.%d.%d.%d\n",
				 IP_Addr[0],
				 IP_Addr[1],
				 IP_Addr[2],
				 IP_Addr[3]);

		  TERMOUT("> Trying to connect to Server: %d.%d.%d.%d:%d ...\n",
				 RemoteIP[0],
				 RemoteIP[1],
				 RemoteIP[2],
				 RemoteIP[3],
							 RemotePORT);

		  while (Trials--)
		  {
			if( WIFI_OpenClientConnection(0, WIFI_TCP_PROTOCOL, "TCP_CLIENT", RemoteIP, RemotePORT, 0) == WIFI_STATUS_OK)
			{
			  TERMOUT("> TCP Connection opened successfully.\n");
			  Socket = 0;
			  break;
			}
		  }
		  if(Socket == -1)
		  {
			TERMOUT("> ERROR : Cannot open Connection\n");
			BSP_LED_On(LED2);
		  }
		}
		else
		{
		  TERMOUT("> ERROR : es-wifi module CANNOT get IP address\n");
		  BSP_LED_On(LED2);
		}
	  }
	  else
	  {
		TERMOUT("> ERROR : es-wifi module NOT connected\n");
		BSP_LED_On(LED2);
	  }
	}
	else
	{
	  TERMOUT("> ERROR : WIFI Module cannot be initialized.\n");
	  BSP_LED_On(LED2);
	}

  /* Infinite loop */
  for(;;)
  {
	wifiTask(Socket);
    osDelay(1);
  }
  /* USER CODE END StartWifiTask */
}

void HAL_TIM_PeriodElapsedCallback(TIM_HandleTypeDef *htim)
{
  if (htim->Instance == TIM7) {
    HAL_IncTick();
  }
}

void Error_Handler(void)
{
  __disable_irq();
  while (1)
  {
  }
}
